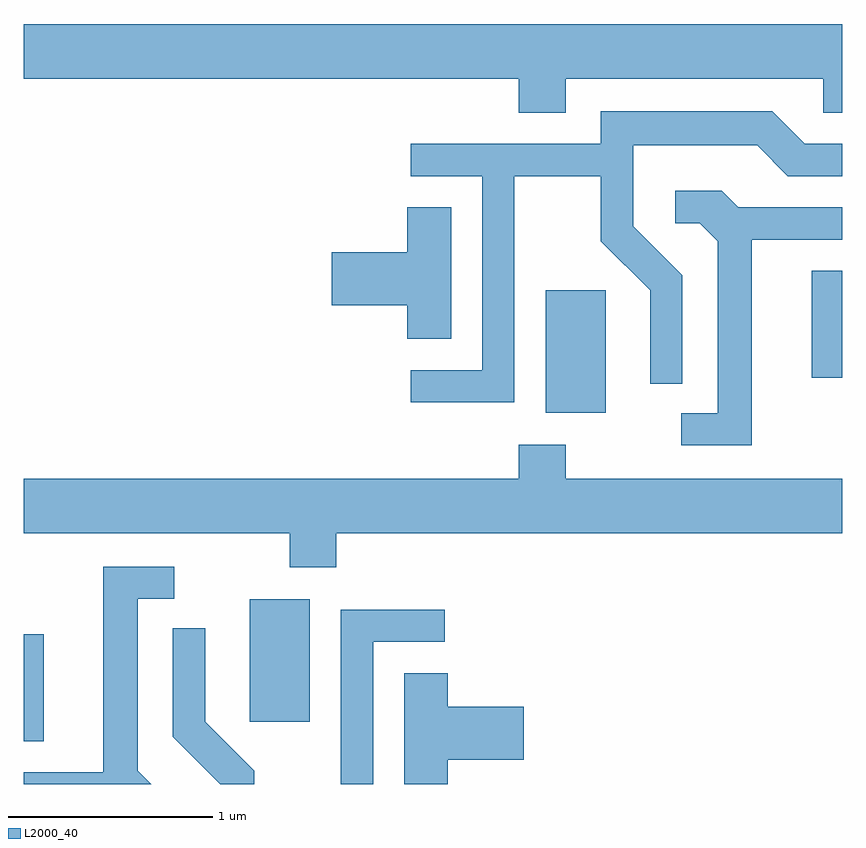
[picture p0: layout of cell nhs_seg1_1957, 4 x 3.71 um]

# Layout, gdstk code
import gdstk
lib = gdstk.Library(unit=1e-6, precision=1e-09)
def R(c, l, rs):  # rectangles x0, y0, x1, y1
    for r in rs: c.add(gdstk.rectangle(r[:2], r[2:], *l))
def P(c, l, *ps):  # polygons
    for p in ps: c.add(gdstk.Polygon(p, *l))
L2000_40 = (2000, 40)

nhs_seg1_1957 = lib.new_cell('nhs_seg1_1957')
R(nhs_seg1_1957, L2000_40, [(245.611,871.921,245.709,872.444), (246.716,872.016,247.009,872.614), (248.161,873.526,248.454,874.124), (249.461,873.696,249.611,874.219)])
P(nhs_seg1_1957, L2000_40, [(248.259,875.156),(249.516,875.156),(249.516,874.991),(249.611,874.991),(249.611,875.424),(245.611,875.424),(245.611,875.156),(248.031,875.156),(248.031,874.991),(248.259,874.991)],
  [(248.009,874.681),(248.431,874.681),(248.431,874.364),(248.671,874.124),(248.671,873.668),(248.829,873.668),(248.829,874.197),(248.589,874.437),(248.589,874.831),(249.194,874.831),(249.344,874.681),(249.611,874.681),(249.611,874.839),(249.427,874.839),(249.267,874.999),(248.431,874.999),(248.431,874.839),(247.503,874.839),(247.503,874.681),(247.851,874.681),(247.851,873.734),(247.503,873.734),(247.503,873.576),(248.009,873.576)],
  [(249.169,874.371),(249.611,874.371),(249.611,874.529),(249.102,874.529),(249.022,874.609),(248.793,874.609),(248.793,874.451),(248.914,874.451),(249.001,874.364),(249.001,873.524),(248.823,873.524),(248.823,873.366),(249.169,873.366)],
  [(247.699,874.529),(247.486,874.529),(247.486,874.309),(247.116,874.309),(247.116,874.051),(247.486,874.051),(247.486,873.886),(247.699,873.886)],
  [(247.139,872.936),(249.611,872.936),(249.611,873.204),(248.259,873.204),(248.259,873.369),(248.031,873.369),(248.031,873.204),(245.611,873.204),(245.611,872.936),(246.911,872.936),(246.911,872.771),(247.139,872.771)],
  [(246.169,871.777),(246.169,872.616),(246.348,872.616),(246.348,872.774),(246.001,872.774),(246.001,871.769),(245.611,871.769),(245.611,871.712),(246.234,871.712)],
  [(247.319,872.406),(247.668,872.406),(247.668,872.564),(247.161,872.564),(247.161,871.712),(247.319,871.712)],
  [(246.739,871.777),(246.499,872.017),(246.499,872.473),(246.341,872.473),(246.341,871.944),(246.573,871.712),(246.739,871.712)],
  [(247.684,871.831),(248.054,871.831),(248.054,872.089),(247.684,872.089),(247.684,872.254),(247.471,872.254),(247.471,871.712),(247.684,871.712)])

lib.write_gds('nhs_seg1_1957.gds')
